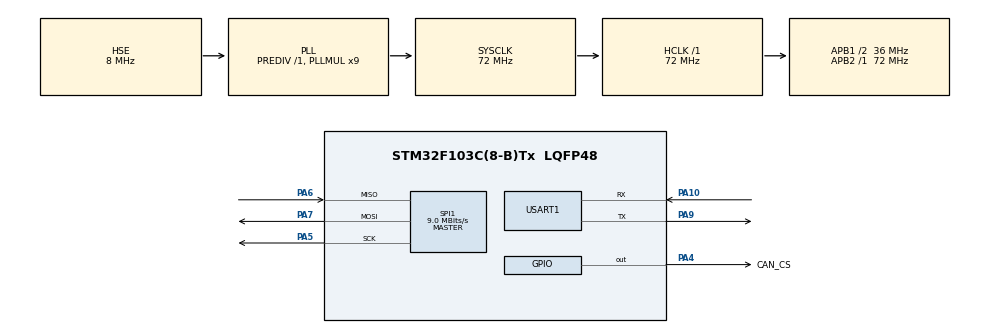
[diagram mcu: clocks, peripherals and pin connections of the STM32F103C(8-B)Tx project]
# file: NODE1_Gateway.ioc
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Mcu.Family=STM32F1
Mcu.Name=STM32F103C(8-B)Tx
Mcu.Package=LQFP48
NVIC.PriorityGroup=NVIC_PRIORITYGROUP_4
NVIC.USART1_IRQn=true\:0\:0\:false\:false\:true\:true\:true\:true
PA10.Mode=Asynchronous
PA10.Signal=USART1_RX
PA13.Mode=Serial_Wire
PA13.Signal=SYS_JTMS-SWDIO
PA14.Mode=Serial_Wire
PA14.Signal=SYS_JTCK-SWCLK
PA4.GPIO_Label=CAN_CS
PA4.Signal=GPIO_Output
PA5.Mode=Full_Duplex_Master
PA5.Signal=SPI1_SCK
PA6.Mode=Full_Duplex_Master
PA6.Signal=SPI1_MISO
PA7.Mode=Full_Duplex_Master
PA7.Signal=SPI1_MOSI
PA9.Mode=Asynchronous
PA9.Signal=USART1_TX
PD0-OSC_IN.Mode=HSE-External-Oscillator
PD0-OSC_IN.Signal=RCC_OSC_IN
PD1-OSC_OUT.Mode=HSE-External-Oscillator
PD1-OSC_OUT.Signal=RCC_OSC_OUT
ProjectManager.HeapSize=0x200
ProjectManager.StackSize=0x400
ProjectManager.TargetToolchain=MDK-ARM V5.32
RCC.AHBFreq_Value=72000000
RCC.APB1CLKDivider=RCC_HCLK_DIV2
RCC.APB1Freq_Value=36000000
RCC.APB1TimFreq_Value=72000000
RCC.APB2Freq_Value=72000000
RCC.APB2TimFreq_Value=72000000
RCC.HCLKFreq_Value=72000000
RCC.PLLMUL=RCC_PLL_MUL9
RCC.PLLSourceVirtual=RCC_PLLSOURCE_HSE
RCC.SYSCLKFreq_VALUE=72000000
RCC.SYSCLKSource=RCC_SYSCLKSOURCE_PLLCLK
RCC.USBFreq_Value=72000000
SPI1.BaudRatePrescaler=SPI_BAUDRATEPRESCALER_8
SPI1.CalculateBaudRate=9.0 MBits/s
SPI1.Direction=SPI_DIRECTION_2LINES
SPI1.Mode=SPI_MODE_MASTER
SPI1.VirtualType=VM_MASTER
USART1.VirtualMode=VM_ASYNC
board=custom

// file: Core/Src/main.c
/* USER CODE BEGIN Header */
/**
  ******************************************************************************
  * @file           : main.c
  * @brief          : Main program body
  ******************************************************************************
  * @attention
  *
  * Copyright (c) 2025 STMicroelectronics.
  * All rights reserved.
  *
  * This software is licensed under terms that can be found in the LICENSE file
  * in the root directory of this software component.
  * If no LICENSE file comes with this software, it is provided AS-IS.
  *
  ******************************************************************************
  */
/* USER CODE END Header */
#include "main.h"
/* USER CODE BEGIN Includes */
#include "CANSPI.h"
#include "MCP2515.h"
#include "string.h"
#include <math.h>
#include "stdio.h"
#include <stdbool.h>
/* USER CODE END Includes */

SPI_HandleTypeDef hspi1;
UART_HandleTypeDef huart1;
/* USER CODE BEGIN PV */
//Khai bao bien
uint8_t rx_buffer[5];
float received_value;
float Kp = 0.0f, Ki = 0.0f, alpha = 0.0f;
float old_Kp = 0.0f, old_Ki = 0.0f, old_alpha = 0.0f;
float setpoint = 0.0f;
float tps1, tps2, TPSmin, TPSmax;
volatile bool Calib_flag = false;
uCAN_MSG txMessage;	uCAN_MSG rxMessage;
/* USER CODE END PV */

void SystemClock_Config(void);
static void MX_GPIO_Init(void);
static void MX_SPI1_Init(void);
static void MX_USART1_UART_Init(void);

/* USER CODE BEGIN 0 */
//Ham ngat nhan UART
void HAL_UART_RxCpltCallback(UART_HandleTypeDef *huart)
{
    if (huart->Instance == USART1)
    {
			uint8_t id = rx_buffer[0];

        memcpy(&received_value, &rx_buffer[1], sizeof(float));  // Chuyen 4 byte  -> float

        switch (id)
        {
            case 0x01:  // ID cho he so Kp
                Kp = received_value;
                break;

            case 0x02:  // ID cho he so Ki
                Ki = received_value;
                break;

						case 0x03:  // ID cho setpoint
                setpoint = received_value;
                break;

						case 0x04:  // ID cho alpha + yeu cau gui gia tri Calib
                alpha = received_value;
                Calib_flag = true;
                break;

            default:
                // Bo qua neu khong xac dinh duoc ID
                break;
        }

      HAL_UART_Receive_IT(&huart1, rx_buffer, 5);//tai kich hoat ham ngat nhan UART
    }
}
//Ham gui UART - tps
void UART_SendTPSData(float tps1, float tps2 ) {
    uint8_t buffer[8];  // 4 byte cho moi bien
    int i = 0;

    // Dua tps1 vao buffer (4 byte)
    memcpy(&buffer[i], &tps1, sizeof(float));
    i += sizeof(float);

    // Рua tps2 vаo buffer (4 byte)
    memcpy(&buffer[i], &tps2, sizeof(float));
    i += sizeof(float);

    // Gui toаn bo buffer qua UART
    HAL_UART_Transmit(&huart1, buffer, sizeof(buffer), 100);
}
//Ham gui UART - gia tri calib
void UART_SendCalibData(float TPSmin, float TPSmax) {
    uint8_t buffer[8];  // 4 byte cho moi bien
    int i = 0;

    // Dua tps1 vao buffer (4 byte)
    memcpy(&buffer[i], &TPSmin, sizeof(float));
    i += sizeof(float);

    // Dua tps2 vao buffer (4 byte)
    memcpy(&buffer[i], &TPSmax, sizeof(float));
    i += sizeof(float);

    // Gui toan bo buffer qua UART
    HAL_UART_Transmit(&huart1, buffer, sizeof(buffer), 100);
}
/* USER CODE END 0 */

int main(void)

{

  /* MCU Configuration--------------------------------------------------------*/

  /* Reset of all peripherals, Initializes the Flash interface and the Systick. */
  HAL_Init();

  /* Configure the system clock */
  SystemClock_Config();

  /* Initialize all configured peripherals */
  MX_GPIO_Init();
  MX_SPI1_Init();
  MX_USART1_UART_Init();
  /* USER CODE BEGIN 2 */
  HAL_UART_Receive_IT(&huart1, rx_buffer, 5);
	MCP2515_Reset();
	CANSPI_Initialize();
  /* USER CODE END 2 */

  /* Infinite loop */
  /* USER CODE BEGIN WHILE */
  while (1)
  {
		if (Kp!=old_Kp||Ki!=old_Ki)//check gia tri moi
		{
				//CAN FRAME 1 gui Kp va Ki
				txMessage.frame.id = 0x111;
				txMessage.frame.dlc = 8;
				memcpy(&txMessage.frame.data0, &Kp, sizeof(float));
				memcpy(&txMessage.frame.data4, &Ki, sizeof(float));
				CANSPI_Transmit(&txMessage);
				old_Kp = Kp; //cap nhat gia tri moi
				old_Ki = Ki;
				HAL_Delay(5);
		}

		if (alpha!=old_alpha)//check gia tri moi
		{
				//CAN FRAME 2 gui alpha
				txMessage.frame.id = 0x116;
				txMessage.frame.dlc = 4;
				memcpy(&txMessage.frame.data0, &alpha, sizeof(float));
				CANSPI_Transmit(&txMessage);
				old_alpha = alpha; //cap nhat gia tri moi
				HAL_Delay(5);
		}

		//CAN FRAME 3 gui setpoint (lien tuc)
		txMessage.frame.id = 0x112;
    txMessage.frame.dlc = 4;
		memcpy(&txMessage.frame.data0, &setpoint, sizeof(float));
		CANSPI_Transmit(&txMessage);
    HAL_Delay(5);

		//Check yeu cau gui gia tri calib ve matlab
		if (Calib_flag == true)
		{
				UART_SendCalibData(TPSmin,TPSmax);
				Calib_flag = false;
				HAL_Delay(5);
		}

		//Nhan CAN
		if(CANSPI_Receive(&rxMessage))
    {
				//CAN FRAME 4 nhan gia tri calib (tu node 2)
				if (rxMessage.frame.id == 0x110 && rxMessage.frame.dlc == 8)
				{
          memcpy(&TPSmin, &rxMessage.frame.data0, sizeof(float));
          memcpy(&TPSmax, &rxMessage.frame.data4, sizeof(float));
				}
				//CAN FARME 5 nhan TPS1Raw va TPS2Raw (tu node 3)
        if (Calib_flag == false && rxMessage.frame.id == 0x115 && rxMessage.frame.dlc == 8)
				{
          memcpy(&tps1, &rxMessage.frame.data0, sizeof(float));
          memcpy(&tps2, &rxMessage.frame.data4, sizeof(float));
					UART_SendTPSData(tps1,tps2);//Gui ve matlab sau khi nhan
				}
		    HAL_Delay(10);
		}
	}
    /* USER CODE END WHILE */

}

void SystemClock_Config(void)
{
  RCC_OscInitTypeDef RCC_OscInitStruct = {0};
  RCC_ClkInitTypeDef RCC_ClkInitStruct = {0};

  /** Initializes the RCC Oscillators according to the specified parameters
  * in the RCC_OscInitTypeDef structure.
  */
  RCC_OscInitStruct.OscillatorType = RCC_OSCILLATORTYPE_HSE;
  RCC_OscInitStruct.HSEState = RCC_HSE_ON;
  RCC_OscInitStruct.HSEPredivValue = RCC_HSE_PREDIV_DIV1;
  RCC_OscInitStruct.HSIState = RCC_HSI_ON;
  RCC_OscInitStruct.PLL.PLLState = RCC_PLL_ON;
  RCC_OscInitStruct.PLL.PLLSource = RCC_PLLSOURCE_HSE;
  RCC_OscInitStruct.PLL.PLLMUL = RCC_PLL_MUL9;
  if (HAL_RCC_OscConfig(&RCC_OscInitStruct) != HAL_OK)
  {
    Error_Handler();
  }

  /** Initializes the CPU, AHB and APB buses clocks
  */
  RCC_ClkInitStruct.ClockType = RCC_CLOCKTYPE_HCLK|RCC_CLOCKTYPE_SYSCLK
                              |RCC_CLOCKTYPE_PCLK1|RCC_CLOCKTYPE_PCLK2;
  RCC_ClkInitStruct.SYSCLKSource = RCC_SYSCLKSOURCE_PLLCLK;
  RCC_ClkInitStruct.AHBCLKDivider = RCC_SYSCLK_DIV1;
  RCC_ClkInitStruct.APB1CLKDivider = RCC_HCLK_DIV2;
  RCC_ClkInitStruct.APB2CLKDivider = RCC_HCLK_DIV1;

  if (HAL_RCC_ClockConfig(&RCC_ClkInitStruct, FLASH_LATENCY_2) != HAL_OK)
  {
    Error_Handler();
  }
}

static void MX_SPI1_Init(void)
{

  /* SPI1 parameter configuration*/
  hspi1.Instance = SPI1;
  hspi1.Init.Mode = SPI_MODE_MASTER;
  hspi1.Init.Direction = SPI_DIRECTION_2LINES;
  hspi1.Init.DataSize = SPI_DATASIZE_8BIT;
  hspi1.Init.CLKPolarity = SPI_POLARITY_LOW;
  hspi1.Init.CLKPhase = SPI_PHASE_1EDGE;
  hspi1.Init.NSS = SPI_NSS_SOFT;
  hspi1.Init.BaudRatePrescaler = SPI_BAUDRATEPRESCALER_8;
  hspi1.Init.FirstBit = SPI_FIRSTBIT_MSB;
  hspi1.Init.TIMode = SPI_TIMODE_DISABLE;
  hspi1.Init.CRCCalculation = SPI_CRCCALCULATION_DISABLE;
  hspi1.Init.CRCPolynomial = 10;
  if (HAL_SPI_Init(&hspi1) != HAL_OK)
  {
    Error_Handler();
  }

}

static void MX_USART1_UART_Init(void)
{

  huart1.Instance = USART1;
  huart1.Init.BaudRate = 115200;
  huart1.Init.WordLength = UART_WORDLENGTH_8B;
  huart1.Init.StopBits = UART_STOPBITS_1;
  huart1.Init.Parity = UART_PARITY_NONE;
  huart1.Init.Mode = UART_MODE_TX_RX;
  huart1.Init.HwFlowCtl = UART_HWCONTROL_NONE;
  huart1.Init.OverSampling = UART_OVERSAMPLING_16;
  if (HAL_UART_Init(&huart1) != HAL_OK)
  {
    Error_Handler();
  }

}

static void MX_GPIO_Init(void)
{
  GPIO_InitTypeDef GPIO_InitStruct = {0};

  /* GPIO Ports Clock Enable */
  __HAL_RCC_GPIOD_CLK_ENABLE();
  __HAL_RCC_GPIOA_CLK_ENABLE();

  /*Configure GPIO pin Output Level */
  HAL_GPIO_WritePin(CAN_CS_GPIO_Port, CAN_CS_Pin, GPIO_PIN_RESET);

  /*Configure GPIO pin : CAN_CS_Pin */
  GPIO_InitStruct.Pin = CAN_CS_Pin;
  GPIO_InitStruct.Mode = GPIO_MODE_OUTPUT_PP;
  GPIO_InitStruct.Pull = GPIO_NOPULL;
  GPIO_InitStruct.Speed = GPIO_SPEED_FREQ_LOW;
  HAL_GPIO_Init(CAN_CS_GPIO_Port, &GPIO_InitStruct);

}

void Error_Handler(void)
{
  __disable_irq();
  while (1)
  {
  }
}
